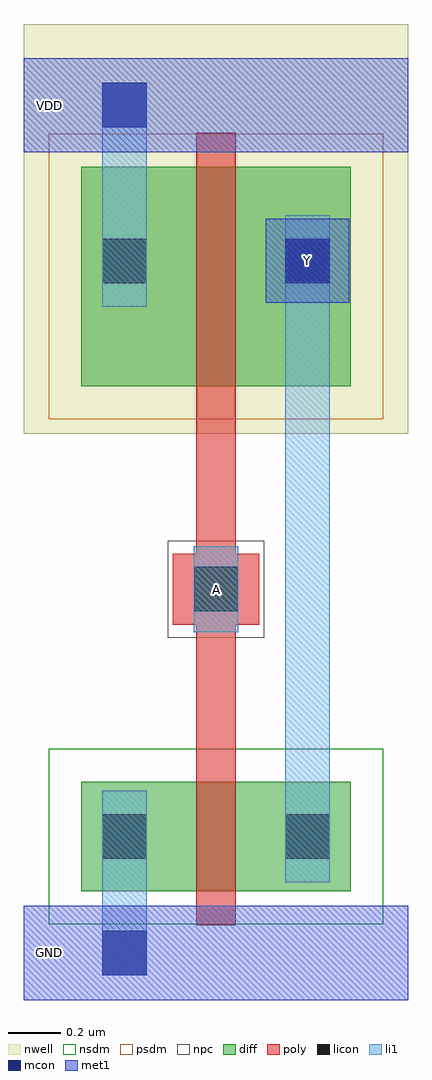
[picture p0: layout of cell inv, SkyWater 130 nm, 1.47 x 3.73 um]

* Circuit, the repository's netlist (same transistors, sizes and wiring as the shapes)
.subckt inv a y vdd vss
XXP y a vdd vdd sky130_fd_pr__pfet_01v8 L=0.15 W=0.84 nf=1 m=1
XXN y a vss vss sky130_fd_pr__nfet_01v8 L=0.15 W=0.42 nf=1 m=1
.ends

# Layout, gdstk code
import gdstk
lib = gdstk.Library(unit=1e-6, precision=1e-09)
def R(c, l, rs):  # rectangles x0, y0, x1, y1
    for r in rs: c.add(gdstk.rectangle(r[:2], r[2:], *l))
nwell = (64, 20)
diff = (65, 20)
poly = (66, 20)
licon = (66, 44)
li1 = (67, 20)
mcon = (67, 44)
met1 = (68, 20)
nsdm = (93, 44)
psdm = (94, 20)
npc = (95, 20)

inv = lib.new_cell('inv')
R(inv, nwell, [(0,1.985,1.47,3.55)])
R(inv, diff, [(0.22,0.235,1.25,0.655), (0.22,2.165,1.25,3.005)])
R(inv, poly, [(0.66,0.105,0.81,1.255), (0.57,1.255,0.9,1.525), (0.66,1.525,0.81,3.135)])
R(inv, licon, [(0.3,0.36,0.47,0.53), (1,0.36,1.17,0.53), (0.65,1.305,0.82,1.475), (0.3,2.56,0.47,2.73), (1,2.56,1.17,2.73)])
R(inv, li1, [(0.3,-0.085,0.47,0.62), (1,0.27,1.17,2.82), (0.65,1.225,0.82,1.555), (0.3,2.47,0.47,3.325)])
R(inv, mcon, [(0.3,-0.085,0.47,0.085), (1,2.56,1.17,2.73), (0.3,3.155,0.47,3.325)])
R(inv, met1, [(0,-0.18,1.47,0.18), (0.925,2.485,1.245,2.805), (0,3.06,1.47,3.42)])
R(inv, nsdm, [(0.095,0.11,1.375,0.78)])
R(inv, psdm, [(0.095,2.04,1.375,3.13)])
R(inv, npc, [(0.55,1.205,0.92,1.575)])
inv.add(gdstk.Label('A', (0.735,1.39), layer=67, texttype=5))
inv.add(gdstk.Label('Y', (1.085,2.645), layer=68, texttype=5))
inv.add(gdstk.Label('VDD', (0.1,3.24), layer=68, texttype=5))
inv.add(gdstk.Label('GND', (0.1,0), layer=68, texttype=5))

lib.write_gds('inv.gds')
